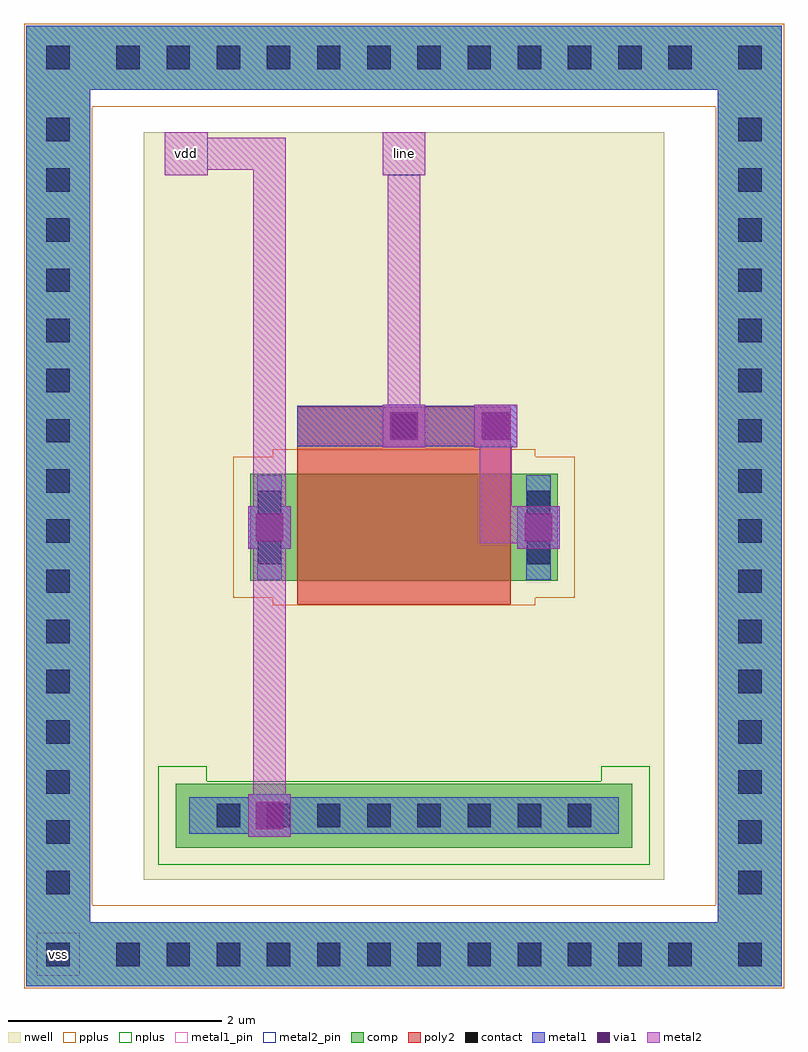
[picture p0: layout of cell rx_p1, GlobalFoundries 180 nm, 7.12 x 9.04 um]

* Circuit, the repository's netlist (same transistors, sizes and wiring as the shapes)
* NGSPICE file created from rx_p1.ext - technology: gf180mcuD

.subckt p_w1_l2 w_n374_n230# a_n288_n100# a_200_n100# a_n200_n144#
X0 a_200_n100# a_n200_n144# a_n288_n100# w_n374_n230# pfet_03v3 ad=0.44p pd=2.88u as=0.44p ps=2.88u w=1u l=2u
.ends

.subckt rx_p1 line vdd vss
XD vdd vdd line line p_w1_l2
.ends

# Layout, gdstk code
import gdstk
lib = gdstk.Library(unit=1e-6, precision=1e-09)
def R(c, l, rs):  # rectangles x0, y0, x1, y1
    for r in rs: c.add(gdstk.rectangle(r[:2], r[2:], *l))
def A(c, l, x, y, w, h, nx, ny, dx, dy):  # array of equal rectangles
    R(c, l, [(x+i*dx, y+j*dy, x+i*dx+w, y+j*dy+h) for i in range(nx) for j in range(ny)])
nwell = (21, 0)
comp = (22, 0)
poly2 = (30, 0)
pplus = (31, 0)
nplus = (32, 0)
contact = (33, 0)
metal1 = (34, 0)
metal1_pin = (34, 10)
via1 = (35, 0)
metal2 = (36, 0)
metal2_pin = (36, 10)

p_w1_l2 = lib.new_cell('p_w1_l2')
R(p_w1_l2, nwell, [(-1.87,-1.15,1.87,1.15)])
R(p_w1_l2, comp, [(-1.44,-0.5,1.44,0.5)])
R(p_w1_l2, poly2, [(-1,-0.72,1,0.72)])
R(p_w1_l2, pplus, [(-1.23,-0.73,1.23,-0.66), (-1.6,-0.66,1.6,0.66), (-1.23,0.66,1.23,0.73)])
R(p_w1_l2, contact, [(-1.37,-0.345,-1.15,-0.125), (1.15,-0.345,1.37,-0.125), (-1.37,0.125,-1.15,0.345), (1.15,0.125,1.37,0.345)])
R(p_w1_l2, metal1, [(-1.375,-0.49,-1.145,0.49), (1.145,-0.49,1.375,0.49)])

rx_p1 = lib.new_cell('rx_p1')
R(rx_p1, nwell, [(1.1,1,5.98,8)])
R(rx_p1, comp, [(0,0,7.08,0.6), (0,0.6,0.6,8.4), (6.48,0.6,7.08,8.4), (1.4,1.3,5.68,1.9), (0,8.4,7.08,9)])
R(rx_p1, poly2, [(2.54,4.8,4.54,5.43)])
R(rx_p1, pplus, [(-0.02,-0.02,7.1,0.76), (-0.02,0.76,0.62,8.24), (6.46,0.76,7.1,8.24), (-0.02,8.24,7.1,9.02)])
R(rx_p1, nplus, [(1.24,1.14,5.84,1.92), (1.24,1.92,1.69,2.06), (5.39,1.92,5.84,2.06)])
A(rx_p1, contact, 0.845, 0.19, 0.22, 0.22, 12, 2, 0.47, 8.4)
A(rx_p1, contact, 0.19, 0.865, 0.22, 0.22, 1, 16, 0, 0.47)
A(rx_p1, contact, 6.67, 0.865, 0.22, 0.22, 1, 16, 0, 0.47)
A(rx_p1, contact, 1.785, 1.49, 0.22, 0.22, 8, 1, 0.47, 0)
R(rx_p1, contact, [(0.19,0.19,0.41,0.41), (6.67,0.19,6.89,0.41), (3.43,5.14,3.65,5.36), (0.19,8.59,0.41,8.81), (6.67,8.59,6.89,8.81)])
R(rx_p1, metal1, [(0,0,7.08,0.6), (0,0.6,0.6,8.4), (6.48,0.6,7.08,8.4), (2.08,1.4,2.48,1.43), (1.53,1.43,5.55,1.77), (2.08,1.77,2.48,1.8), (2.08,4.1,2.48,4.5), (4.6,4.1,5,4.5), (3.34,5.05,3.74,5.06), (4.2,5.05,4.6,5.06), (2.54,5.06,4.6,5.44), (3.34,5.44,3.74,5.45), (4.2,5.44,4.6,5.45), (0,8.4,7.08,9)])
R(rx_p1, metal1_pin, [(0.1,0.1,0.5,0.5)])
R(rx_p1, via1, [(2.15,1.47,2.41,1.73), (2.15,4.17,2.41,4.43), (4.67,4.17,4.93,4.43), (3.41,5.12,3.67,5.38), (4.27,5.12,4.53,5.38)])
R(rx_p1, metal2, [(2.08,1.4,2.48,1.8), (2.13,1.8,2.43,4.1), (2.08,4.1,2.48,4.5), (4.6,4.1,5,4.15), (4.25,4.15,5,4.5), (2.13,4.5,2.43,7.65), (4.25,4.5,4.55,5.05), (3.34,5.05,3.74,5.45), (4.2,5.05,4.6,5.45), (3.39,5.45,3.69,7.6), (1.3,7.6,1.7,7.65), (3.34,7.6,3.74,8), (1.3,7.65,2.43,7.95), (1.3,7.95,1.7,8)])
R(rx_p1, metal2_pin, [(1.3,7.6,1.7,8), (3.34,7.6,3.74,8)])
rx_p1.add(gdstk.Reference(p_w1_l2, (3.54,4.3)))
rx_p1.add(gdstk.Label('line', (3.54,7.8), layer=36, texttype=10))
rx_p1.add(gdstk.Label('vdd', (1.5,7.8), layer=36, texttype=10))
rx_p1.add(gdstk.Label('vss', (0.3,0.3), layer=34, texttype=10))

lib.write_gds('rx_p1.gds')
